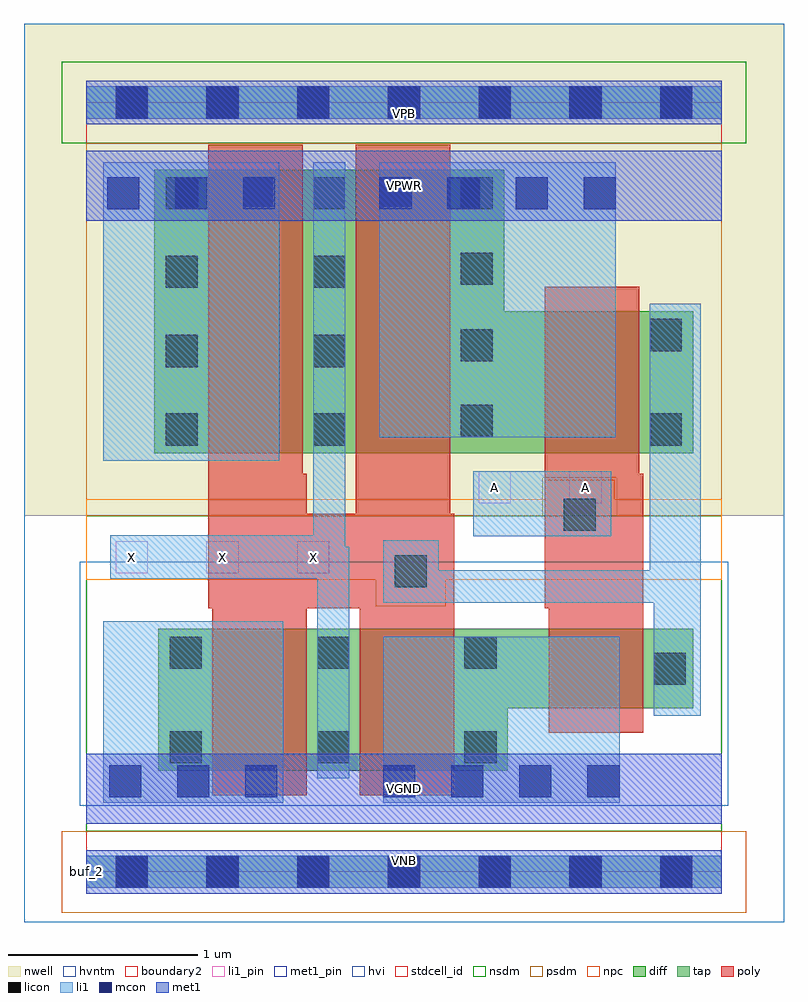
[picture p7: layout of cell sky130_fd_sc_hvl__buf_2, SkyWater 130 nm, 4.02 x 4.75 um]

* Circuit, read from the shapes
.subckt sky130_fd_sc_hvl__buf_2 A VGND VNB VPB VPWR X
XM1 X n1 VGND VNB sky130_fd_pr__nfet_g5v0d10v5 w=0.75 l=0.5 m=2
XM2 n1 A VGND VNB sky130_fd_pr__nfet_g5v0d10v5 w=0.42 l=0.5
XM3 X n1 VPWR VPB sky130_fd_pr__pfet_g5v0d10v5 w=1.5 l=0.5 m=2
XM4 n1 A VPWR VPB sky130_fd_pr__pfet_g5v0d10v5 w=0.75 l=0.5
.ends

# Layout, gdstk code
import gdstk
lib = gdstk.Library(unit=1e-6, precision=1e-09)
def R(c, l, rs):  # rectangles x0, y0, x1, y1
    for r in rs: c.add(gdstk.rectangle(r[:2], r[2:], *l))
def A(c, l, x, y, w, h, nx, ny, dx, dy):  # array of equal rectangles
    R(c, l, [(x+i*dx, y+j*dy, x+i*dx+w, y+j*dy+h) for i in range(nx) for j in range(ny)])
def P(c, l, *ps):  # polygons
    for p in ps: c.add(gdstk.Polygon(p, *l))
nwell = (64, 20)
diff = (65, 20)
tap = (65, 44)
poly = (66, 20)
licon = (66, 44)
li1_pin = (67, 16)
li1 = (67, 20)
mcon = (67, 44)
met1_pin = (68, 16)
met1 = (68, 20)
hvi = (75, 20)
stdcell_id = (81, 4)
nsdm = (93, 44)
psdm = (94, 20)
npc = (95, 20)
hvntm = (125, 20)
boundary2 = (236, 0)

sky130_fd_sc_hvl__buf_2 = lib.new_cell('sky130_fd_sc_hvl__buf_2')
R(sky130_fd_sc_hvl__buf_2, nwell, [(-0.33,1.885,3.69,4.485)])
P(sky130_fd_sc_hvl__buf_2, diff, [(0.36,2.215),(0.36,3.715),(2.21,3.715),(2.21,2.965),(3.21,2.965),(3.21,2.215)],
  [(0.38,0.535),(0.38,1.285),(3.21,1.285),(3.21,0.865),(2.23,0.865),(2.23,0.535)])
R(sky130_fd_sc_hvl__buf_2, tap, [(0,-0.085,3.36,0.085), (0,3.985,3.36,4.155)])
P(sky130_fd_sc_hvl__buf_2, poly, [(0.665,0.405),(0.665,1.395),(0.645,1.395),(0.645,3.845),(1.145,3.845),(1.145,2.105),(1.165,2.105),(1.165,1.895),(1.425,1.895),(1.425,3.845),(1.925,3.845),(1.925,1.895),(1.945,1.895),(1.945,0.405),(1.445,0.405),(1.445,1.395),(1.165,1.395),(1.165,0.405)],
  [(2.445,0.735),(2.445,1.395),(2.425,1.395),(2.425,3.095),(2.925,3.095),(2.925,2.105),(2.945,2.105),(2.945,0.735)])
A(sky130_fd_sc_hvl__buf_2, licon, 0.155, -0.085, 0.17, 0.17, 7, 2, 0.48, 4.07)
A(sky130_fd_sc_hvl__buf_2, licon, 0.44, 0.575, 0.17, 0.17, 3, 2, 0.78, 0.5)
A(sky130_fd_sc_hvl__buf_2, licon, 0.42, 3.505, 0.17, 0.17, 3, 1, 0.78, 0)
R(sky130_fd_sc_hvl__buf_2, licon, [(3,0.99,3.17,1.16), (1.63,1.505,1.8,1.675), (2.525,1.805,2.695,1.975), (0.42,2.255,0.59,2.425), (1.2,2.255,1.37,2.425), (2.98,2.255,3.15,2.425), (1.98,2.3,2.15,2.47), (0.42,2.67,0.59,2.84), (1.2,2.67,1.37,2.84), (1.98,2.7,2.15,2.87), (2.98,2.755,3.15,2.925), (0.42,3.09,0.59,3.26), (1.2,3.09,1.37,3.26), (1.98,3.105,2.15,3.275)])
A(sky130_fd_sc_hvl__buf_2, li1_pin, 0.155, 1.58, 0.17, 0.17, 3, 1, 0.48, 0)
R(sky130_fd_sc_hvl__buf_2, li1_pin, [(2.075,1.95,2.245,2.12), (2.555,1.95,2.725,2.12)])
R(sky130_fd_sc_hvl__buf_2, li1, [(0,-0.085,3.36,0.085), (0.09,0.365,1.04,1.325), (1.57,0.365,2.82,1.245), (2.045,1.775,2.775,2.12), (0.09,2.175,1.02,3.755), (1.55,2.3,2.8,3.755), (0,3.985,3.36,4.155)])
P(sky130_fd_sc_hvl__buf_2, li1, [(3,0.825),(3,1.425),(1.57,1.425),(1.57,1.755),(1.865,1.755),(1.865,1.595),(2.98,1.595),(2.98,3.005),(3.25,3.005),(3.25,0.825)],
  [(1.22,0.495),(1.22,1.55),(0.125,1.55),(0.125,1.78),(1.2,1.78),(1.2,3.755),(1.37,3.755),(1.37,1.72),(1.39,1.72),(1.39,0.495)])
A(sky130_fd_sc_hvl__buf_2, mcon, 0.12, 0.395, 0.17, 0.17, 3, 1, 0.36, 0)
A(sky130_fd_sc_hvl__buf_2, mcon, 1.57, 0.395, 0.17, 0.17, 4, 1, 0.36, 0)
A(sky130_fd_sc_hvl__buf_2, mcon, 0.11, 3.505, 0.17, 0.17, 3, 1, 0.36, 0)
A(sky130_fd_sc_hvl__buf_2, mcon, 1.55, 3.505, 0.17, 0.17, 4, 1, 0.36, 0)
R(sky130_fd_sc_hvl__buf_2, mcon, [(0.155,-0.085,0.325,0.085), (0.155,-0.085,0.325,0.085), (0.635,-0.085,0.805,0.085), (0.635,-0.085,0.805,0.085), (1.115,-0.085,1.285,0.085), (1.115,-0.085,1.285,0.085), (1.595,-0.085,1.765,0.085), (1.595,-0.085,1.765,0.085), (2.075,-0.085,2.245,0.085), (2.075,-0.085,2.245,0.085), (2.555,-0.085,2.725,0.085), (2.555,-0.085,2.725,0.085), (3.035,-0.085,3.205,0.085), (3.035,-0.085,3.205,0.085), (0.155,3.985,0.325,4.155), (0.155,3.985,0.325,4.155), (0.635,3.985,0.805,4.155), (0.635,3.985,0.805,4.155), (1.115,3.985,1.285,4.155), (1.115,3.985,1.285,4.155), (1.595,3.985,1.765,4.155), (1.595,3.985,1.765,4.155), (2.075,3.985,2.245,4.155), (2.075,3.985,2.245,4.155), (2.555,3.985,2.725,4.155), (2.555,3.985,2.725,4.155), (3.035,3.985,3.205,4.155), (3.035,3.985,3.205,4.155)])
R(sky130_fd_sc_hvl__buf_2, met1_pin, [(0,0,3.36,0.115), (0,0.255,3.36,0.625), (0,3.445,3.36,3.815), (0,3.955,3.36,4.07)])
R(sky130_fd_sc_hvl__buf_2, met1, [(0,-0.115,3.36,0.115), (0,0.255,3.36,0.625), (0,3.445,3.36,3.815), (0,3.955,3.36,4.185)])
R(sky130_fd_sc_hvl__buf_2, hvi, [(-0.33,-0.265,3.69,4.485)])
R(sky130_fd_sc_hvl__buf_2, stdcell_id, [(0,0,3.36,4.07)])
R(sky130_fd_sc_hvl__buf_2, nsdm, [(0,0.215,3.36,1.885), (-0.13,3.855,3.49,4.285), (0,3.855,3.36,4.07)])
R(sky130_fd_sc_hvl__buf_2, psdm, [(-0.13,-0.215,3.49,0.215)])
P(sky130_fd_sc_hvl__buf_2, psdm, [(0,1.885),(0,3.855),(3.36,3.855),(3.36,1.885),(2.805,1.885),(2.805,2.085),(2.415,2.085),(2.415,1.885)])
P(sky130_fd_sc_hvl__buf_2, npc, [(1.53,1.405),(1.53,1.545),(0,1.545),(0,1.97),(2.425,1.97),(2.425,2.075),(2.795,2.075),(2.795,1.97),(3.36,1.97),(3.36,1.545),(1.9,1.545),(1.9,1.405)])
R(sky130_fd_sc_hvl__buf_2, hvntm, [(-0.035,0.35,3.395,1.64)])
R(sky130_fd_sc_hvl__buf_2, boundary2, [(0,0,3.36,4.07)])
sky130_fd_sc_hvl__buf_2.add(gdstk.Label('buf_2', (0,0), layer=83, texttype=44))
sky130_fd_sc_hvl__buf_2.add(gdstk.Label('VGND', (1.68,0.44), layer=68, texttype=5))
sky130_fd_sc_hvl__buf_2.add(gdstk.Label('VNB', (1.68,0.058), layer=68, texttype=5))
sky130_fd_sc_hvl__buf_2.add(gdstk.Label('VPWR', (1.68,3.63), layer=68, texttype=5))
sky130_fd_sc_hvl__buf_2.add(gdstk.Label('VPB', (1.68,4.013), layer=68, texttype=5))
sky130_fd_sc_hvl__buf_2.add(gdstk.Label('A', (2.16,2.035), layer=67, texttype=5))
sky130_fd_sc_hvl__buf_2.add(gdstk.Label('A', (2.64,2.035), layer=67, texttype=5))
sky130_fd_sc_hvl__buf_2.add(gdstk.Label('X', (0.24,1.665), layer=67, texttype=5))
sky130_fd_sc_hvl__buf_2.add(gdstk.Label('X', (0.72,1.665), layer=67, texttype=5))
sky130_fd_sc_hvl__buf_2.add(gdstk.Label('X', (1.2,1.665), layer=67, texttype=5))

lib.write_gds('sky130_fd_sc_hvl__buf_2.gds')
